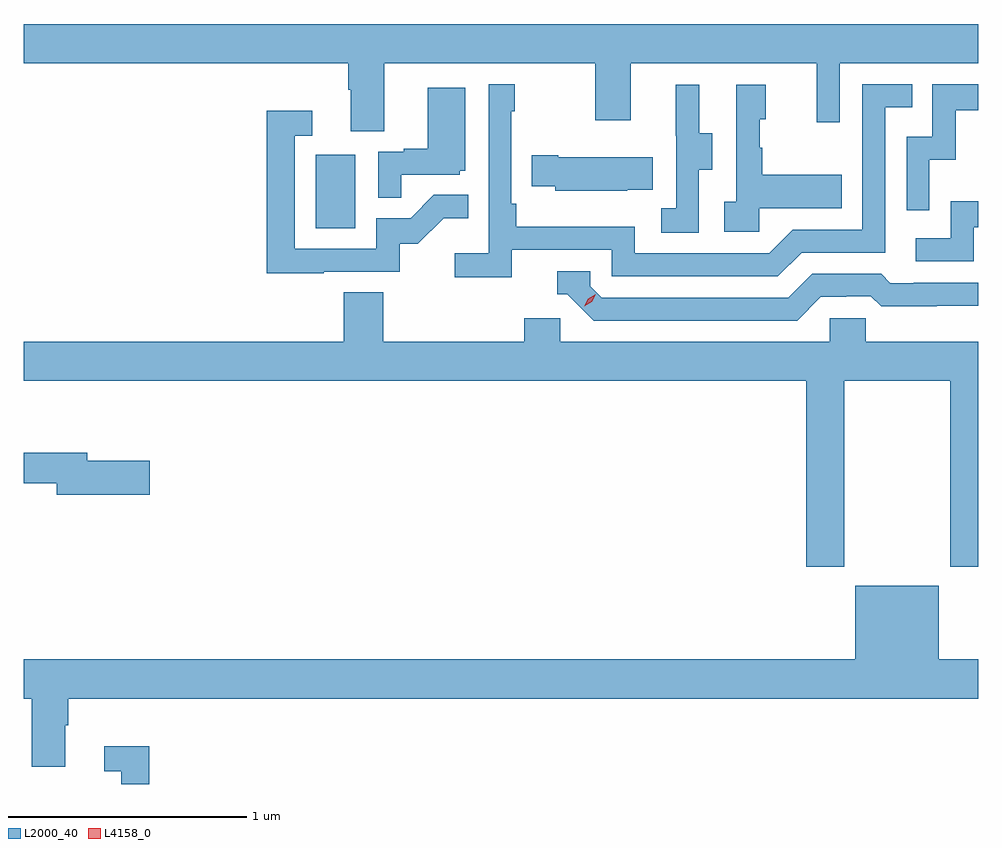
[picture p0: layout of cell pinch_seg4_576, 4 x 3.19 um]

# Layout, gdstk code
import gdstk
lib = gdstk.Library(unit=1e-6, precision=1e-09)
def R(c, l, rs):  # rectangles x0, y0, x1, y1
    for r in rs: c.add(gdstk.rectangle(r[:2], r[2:], *l))
def P(c, l, *ps):  # polygons
    for p in ps: c.add(gdstk.Polygon(p, *l))
L2000_40 = (2000, 40)
L4158_0 = (4158, 0)

pinch_seg4_576 = lib.new_cell('pinch_seg4_576')
R(pinch_seg4_576, L2000_40, [(1059.536,778.812,1059.7,779.119)])
P(pinch_seg4_576, L2000_40, [(1059.823,779.504),(1060.708,779.504),(1060.708,779.265),(1060.855,779.265),(1060.855,779.504),(1061.636,779.504),(1061.636,779.256),(1061.733,779.256),(1061.733,779.504),(1062.312,779.504),(1062.312,779.668),(1058.312,779.668),(1058.312,779.504),(1059.671,779.504),(1059.671,779.392),(1059.683,779.392),(1059.683,779.218),(1059.823,779.218)],
  [(1060.358,778.722),(1060.776,778.722),(1060.776,778.611),(1061.473,778.611),(1061.572,778.71),(1061.922,778.71),(1061.922,779.319),(1062.035,779.319),(1062.035,779.415),(1061.826,779.415),(1061.826,778.806),(1061.535,778.806),(1061.436,778.707),(1060.872,778.707),(1060.872,778.819),(1060.376,778.819),(1060.376,778.915),(1060.356,778.915),(1060.356,779.303),(1060.369,779.303),(1060.369,779.416),(1060.26,779.416),(1060.26,778.708),(1060.119,778.708),(1060.119,778.606),(1060.358,778.606)],
  [(1062.108,779.099),(1062.218,779.099),(1062.218,779.307),(1062.312,779.307),(1062.312,779.415),(1062.12,779.415),(1062.12,779.196),(1062.012,779.196),(1062.012,778.887),(1062.108,778.887)],
  [(1061.142,779.056),(1061.197,779.056),(1061.197,779.211),(1061.143,779.211),(1061.143,779.413),(1061.045,779.413),(1061.045,779.199),(1061.046,779.199),(1061.046,778.895),(1060.983,778.895),(1060.983,778.792),(1061.142,778.792)],
  [(1061.394,778.895),(1061.741,778.895),(1061.741,779.035),(1061.407,779.035),(1061.407,779.15),(1061.397,779.15),(1061.397,779.268),(1061.422,779.268),(1061.422,779.413),(1061.298,779.413),(1061.298,778.922),(1061.247,778.922),(1061.247,778.797),(1061.394,778.797)],
  [(1059.893,779.037),(1060.14,779.037),(1060.14,779.052),(1060.162,779.052),(1060.162,779.401),(1060.004,779.401),(1060.004,779.146),(1059.905,779.146),(1059.905,779.133),(1059.798,779.133),(1059.798,778.939),(1059.893,778.939)],
  [(1059.569,778.629),(1059.888,778.629),(1059.888,778.746),(1059.964,778.746),(1060.071,778.853),(1060.175,778.853),(1060.175,778.952),(1060.031,778.952),(1059.933,778.854),(1059.789,778.854),(1059.789,778.725),(1059.447,778.725),(1059.447,779.199),(1059.52,779.199),(1059.52,779.305),(1059.331,779.305),(1059.331,778.624),(1059.569,778.624)],
  [(1060.841,778.973),(1060.949,778.973),(1060.949,779.11),(1060.552,779.11),(1060.552,779.118),(1060.441,779.118),(1060.441,778.988),(1060.539,778.988),(1060.539,778.97),(1060.841,778.97)],
  [(1062.294,778.815),(1062.312,778.815),(1062.312,778.924),(1062.198,778.924),(1062.198,778.77),(1062.051,778.77),(1062.051,778.674),(1062.294,778.674)],
  [(1061.653,778.524),(1061.76,778.524),(1061.76,778.527),(1061.863,778.527),(1061.905,778.485),(1062.138,778.485),(1062.138,778.487),(1062.312,778.487),(1062.312,778.584),(1062.043,778.584),(1062.043,778.581),(1061.944,778.581),(1061.905,778.62),(1061.616,778.62),(1061.517,778.521),(1060.734,778.521),(1060.686,778.569),(1060.686,778.632),(1060.547,778.632),(1060.547,778.536),(1060.59,778.536),(1060.701,778.425),(1061.554,778.425)],
  [(1060.409,778.434),(1060.409,778.336),(1059.818,778.336),(1059.818,778.544),(1059.653,778.544),(1059.653,778.336),(1058.312,778.336),(1058.312,778.172),(1061.591,778.172),(1061.591,777.393),(1061.751,777.393),(1061.751,778.172),(1062.196,778.172),(1062.196,777.393),(1062.312,777.393),(1062.312,778.336),(1061.841,778.336),(1061.841,778.434),(1061.691,778.434),(1061.691,778.336),(1060.56,778.336),(1060.56,778.434)],
  [(1058.839,777.837),(1058.578,777.837),(1058.578,777.871),(1058.312,777.871),(1058.312,777.742),(1058.45,777.742),(1058.45,777.695),(1058.839,777.695)],
  [(1058.485,776.728),(1058.498,776.728),(1058.498,776.84),(1062.312,776.84),(1062.312,777.004),(1062.148,777.004),(1062.148,777.313),(1061.798,777.313),(1061.798,777.004),(1058.312,777.004),(1058.312,776.84),(1058.345,776.84),(1058.345,776.554),(1058.485,776.554)],
  [(1058.837,776.641),(1058.649,776.641),(1058.649,776.535),(1058.721,776.535),(1058.721,776.482),(1058.837,776.482)])
P(pinch_seg4_576, L4158_0, [(1060.662,778.484),(1060.662,778.484),(1060.678,778.517),(1060.709,778.536),(1060.709,778.536),(1060.709,778.536),(1060.693,778.503),(1060.662,778.484)])

lib.write_gds('pinch_seg4_576.gds')
